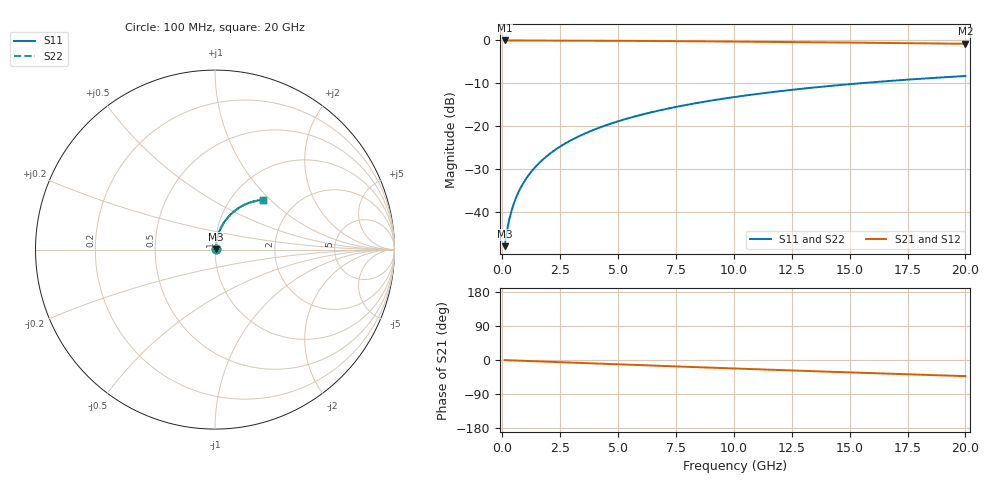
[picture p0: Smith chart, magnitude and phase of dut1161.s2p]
! Touchstone file exported from HFSS 2026.1.0
!  File:  C:/ffzhzh/LocalFiles/Ansys_Project_Files/temp_train_BSMRDL_1161_1783175803_43440.aedt
!  Generated:  10:37:55 PM Jul  4, 2026
!  Design:  BSMRDL
!  Project:  temp_train_BSMRDL_1161_1783175803_43440
! Variables:
!  h_bsmrdl = 3.26um
!  h_ox = 20um
!  h_rdl = 5um
!  h_sub = 80um
!  h_tmrdl = 5um
!  h_tsv = 80um
!  h_via = 3um
!  l_bsmrdl = 617.83um
!  l_sub = 1017.83um
!  l_tmrdl = 200um
!  m_sub = 200um
!  pitch = 50.1um
!  r_tsv = 6um
!  s_tmrdl = 10um
!  w_bsmrdl = 23.16um
!  w_sub = 500um
!  w_tmrdl = 12um
!  x_tsv_center1 = 206um
!  x_tsv_center2 = 846.99um
!  x_tsv_center3 = 1058.99um
!  x_tsv_center4 = 1699.98um
!  x_tsv_center5 = 1911.98um
!  x_tsv_center6 = 2552.97um
# GHz S MA R 50.000000
! Terminal data exported
! Port[1] = BSM_RDL1_1_T1
! Port[2] = BSM_RDL1_1_T2
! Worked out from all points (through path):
!   200 points, 100 MHz to 20 GHz, reference 50 ohm
!   highest |S21| = -0.03 dB at 100 MHz (marker M1); lowest = -0.8 dB at 20 GHz (marker M2)
!   group delay of S21, straight-line fit = 5.92 ps
!   lowest |S11| = -47.9 dB at 100 MHz (marker M3), VSWR 1.01, Z = 50.3 + j0.257 ohm
!   |S11| at or under -10 dB: start of sweep to 15.43 GHz
!   |S22| runs from -47.9 to -8.3 dB; largest |S21 - S12| = 3.3e-15
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0.1  0.004037 39.2  0.9969 -0.2  0.9969 -0.2  0.004037 39.2
! Gamma 0 0 0 0
! Port Impedance 50 0 50 0
0.2  0.006021 56.7  0.9967 -0.5  0.9967 -0.5  0.006021 56.7
0.3  0.00822 64.7  0.9965 -0.7  0.9965 -0.7  0.008221 64.7
0.4  0.01045 69.1  0.9964 -0.9  0.9964 -0.9  0.01045 69.1
0.5  0.01268 71.9  0.9962 -1.2  0.9962 -1.2  0.01269 71.9
0.6  0.01492 73.9  0.9961 -1.4  0.9961 -1.4  0.01492 73.9
0.8  0.01942 76.5  0.9959 -1.9  0.9959 -1.9  0.01942 76.5
1.1  0.02622 78.6  0.9956 -2.5  0.9956 -2.5  0.02622 78.6
1.3  0.03077 79.3  0.9955 -3.0  0.9955 -3.0  0.03078 79.3
1.6  0.03763 79.9  0.9951 -3.7  0.9951 -3.7  0.03763 79.9
2.1  0.04907 80.1  0.9945 -4.8  0.9945 -4.8  0.04908 80.1
2.7  0.06278 79.7  0.9935 -6.2  0.9935 -6.2  0.06278 79.6
3.5  0.08093 78.5  0.9919 -8.0  0.9919 -8.0  0.08093 78.5
4.2  0.09665 77.3  0.9901 -9.6  0.9901 -9.6  0.09666 77.3
5  0.1144 75.8  0.9878 -11.4  0.9878 -11.4  0.1144 75.7
5.9  0.1341 74.0  0.9849 -13.4  0.9849 -13.4  0.1341 73.9
6.8  0.1533 72.2  0.9816 -15.4  0.9816 -15.4  0.1533 72.1
8.3  0.1846 69.1  0.9755 -18.7  0.9755 -18.7  0.1846 69.0
10.1  0.2205 65.4  0.9672 -22.6  0.9672 -22.6  0.2205 65.2
13.4  0.2818 58.7  0.9501 -29.5  0.9501 -29.5  0.2818 58.5
16.7  0.3366 52.3  0.9315 -36.1  0.9315 -36.1  0.3366 52.0
20  0.3848 46.1  0.9123 -42.5  0.9123 -42.5  0.3848 45.7
